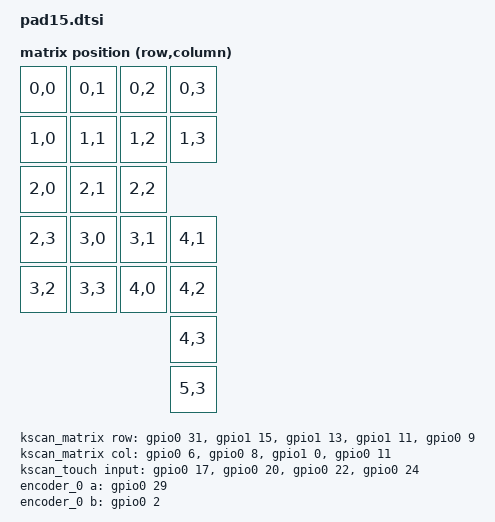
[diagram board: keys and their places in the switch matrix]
#include <physical_layouts.dtsi>
#include <dt-bindings/zmk/matrix_transform.h>

/ {
    chosen {
        zmk,kscan = &kscan0;
        zmk,physical-layout = &layout;
    };

    /* 1. 物理布局（visualizer 用） */
    layout: layout {
        compatible = "zmk,physical-layout";
        display-name = "pad15";
        transform = <&transform>;
        kscan = <&kscan0>;               /* 必须指向 composite */

        keys = <&key_physical_attrs 100 100    0    0       0     0     0>
               , <&key_physical_attrs 100 100  100    0       0     0     0>
               , <&key_physical_attrs 100 100  200    0       0     0     0>
               , <&key_physical_attrs 100 100  300    0       0     0     0>
               , <&key_physical_attrs 100 100    0  100       0     0     0>
               , <&key_physical_attrs 100 100  100  100       0     0     0>
               , <&key_physical_attrs 100 100  200  100       0     0     0>
               , <&key_physical_attrs 100 100  300  100       0     0     0>
               , <&key_physical_attrs 100 100    0  200       0     0     0>
               , <&key_physical_attrs 100 100  100  200       0     0     0>
               , <&key_physical_attrs 100 100  200  200       0     0     0>
               , <&key_physical_attrs 100 100    0  300       0     0     0>
               , <&key_physical_attrs 100 100  100  300       0     0     0>
               , <&key_physical_attrs 100 100  200  300       0     0     0>
               , <&key_physical_attrs 100 100    0  400       0     0     0>
               , <&key_physical_attrs 100 100  100  400       0     0     0>
               , <&key_physical_attrs 100 100  200  400       0     0     0>

               /* 4 个触摸键（第四列） */
               , <&key_physical_attrs 100 100  300  300       0     0     0>
               , <&key_physical_attrs 100 100  300  400       0     0     0>
               , <&key_physical_attrs 100 100  300  500       0     0     0>
               , <&key_physical_attrs 100 100  300  600       0     0     0>
               ;
    };

    /* 2. 矩阵转换 */
        transform: matrix_transform {
        compatible = "zmk,matrix-transform";
        rows = <6>;
        columns = <4>;

        map = <
            RC(0,0) RC(0,1) RC(0,2) RC(0,3)
            RC(1,0) RC(1,1) RC(1,2) RC(1,3)
            RC(2,0) RC(2,1) RC(2,2) RC(2,3)
            RC(3,0) RC(3,1) RC(3,2) RC(3,3)
            RC(4,0) RC(4,1) RC(4,2) RC(4,3)
                                    RC(5,3)
        >;
    };

    kscan0: kscan_0 {
        compatible = "zmk,kscan-composite";

        matrix {
            kscan = <&kscan_matrix>;
        };

        touch {
            kscan = <&kscan_touch>;
            row-offset = <5>;
            col-offset = <4>;   /* 4个触摸键放在第4列 */
        };
    };

    /* 3. 复合 kscan（核心修复） */
    kscan_matrix: kscan_matrix {
        compatible = "zmk,kscan-gpio-matrix";
        diode-direction = "col2row";
        col-gpios = <&gpio0 6 GPIO_ACTIVE_HIGH>,
                    <&gpio0 8 GPIO_ACTIVE_HIGH>,
                    <&gpio1 0 GPIO_ACTIVE_HIGH>,
                    <&gpio0 11 GPIO_ACTIVE_HIGH>;
        row-gpios = <&gpio0 31 (GPIO_ACTIVE_HIGH | GPIO_PULL_DOWN)>,
                    <&gpio1 15 (GPIO_ACTIVE_HIGH | GPIO_PULL_DOWN)>,
                    <&gpio1 13 (GPIO_ACTIVE_HIGH | GPIO_PULL_DOWN)>,
                    <&gpio1 11 (GPIO_ACTIVE_HIGH | GPIO_PULL_DOWN)>,
                    <&gpio0 9 (GPIO_ACTIVE_HIGH | GPIO_PULL_DOWN)>;
    };

    kscan_touch: kscan_touch {
        compatible = "zmk,kscan-gpio-direct";
        input-gpios
            = <&gpio0 17 (GPIO_ACTIVE_LOW | GPIO_PULL_UP)>
            , <&gpio0 20 (GPIO_ACTIVE_LOW | GPIO_PULL_UP)>
            , <&gpio0 22 (GPIO_ACTIVE_LOW | GPIO_PULL_UP)>
            , <&gpio0 24 (GPIO_ACTIVE_LOW | GPIO_PULL_UP)>
            ;
    };


    /* 4. EC11 旋钮（保留你最新的引脚） */
    encoder_0: encoder_0 {
        compatible = "alps,ec11";
        a-gpios = <&gpio0 29 (GPIO_ACTIVE_HIGH | GPIO_PULL_UP)>;
        b-gpios = <&gpio0 2 (GPIO_ACTIVE_HIGH | GPIO_PULL_UP)>;
        steps = <80>;
    };

    sensors {
        compatible = "zmk,keymap-sensors";
        sensors = <&encoder_0>;
    };

    /* 5. 摇杆（保留 dtsi 里的基础定义，overlay 里再增强） */
    joystick: joystick {
        compatible = "zmk,analog-input";
        io-channels = <&adc 0>, <&adc 5>;
    };
};
